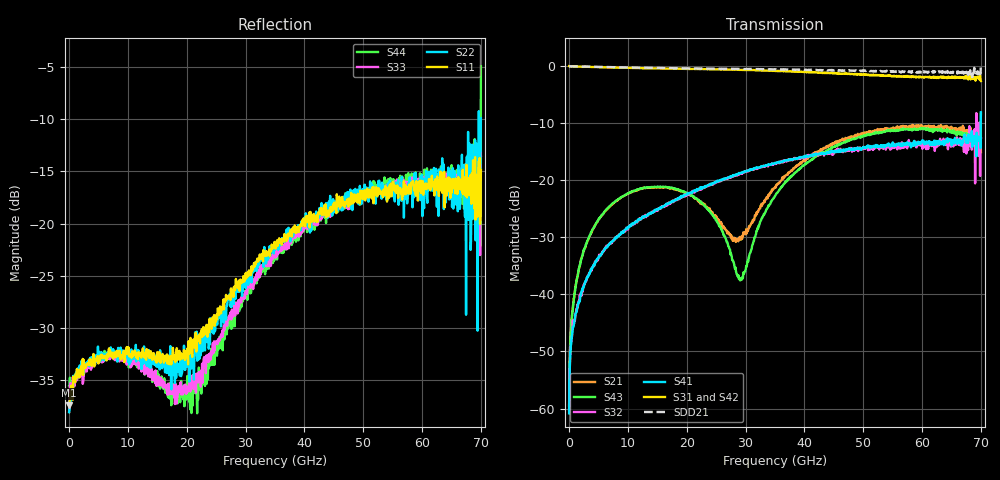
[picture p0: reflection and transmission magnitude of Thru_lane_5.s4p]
! 4/13/2026 10:45:41 AM
! C:\ANRITSUVNA\DATA\SARA\2026-04-13 T5 MZDRV\DEEMB STRUCTURES\THRU_2.S4P
! CHANNEL.1
! TR.MEASUREMENT
! CORRECTED.DATA
! RF.CORRECTION: FULL.FOUR.PORT.CAL.PORT.1.2.3.4
! AVERAGING.OFF
! IF.BANDWIDTH: 1KHZ
! SWEEPTYPE:  FREQ.SWEEP(Linear)
! Reference Plane Port Info
! PORT:  PORT1  PORT2  PORT3  PORT4
! DISTANCE:  0  m  0  m  0  m  0  m
! TIME:  0  s  0  s  0  s  0  s
! PHASE.OFFSET:  0 °  0 °  0 °  0 °
! LOSS:  0  dB  0  dB  0  dB  0  dB
! REF.LOSS:  0  dB  0  dB  0  dB  0  dB
! REF.FREQ:  0  Hz  0  Hz  0  Hz  0  Hz
! Power Info
! POWER:  -20  dBm  -20  dBm  -20  dBm  -20  dBm
! EFF.POWER:  -20  dBm  -20  dBm  -20  dBm  -20  dBm
! SOURCE.ATTEN:  0  dB  0  dB  0  dB  0  dB
! TEST.ATTEN:  0  dB  0  dB  0  dB  0  dB
# HZ S DB R 50.0
! FREQ.HZ  S11DB  S11A  S12DB  S12A  S13DB  S13A  S14DB  S14A
!  S21DB  S21A  S22DB  S22A  S23DB  S23A  S24DB  S24A
!  S31DB  S31A  S32DB  S32A  S33DB  S33A  S34DB  S34A
!  S41DB  S41A  S42DB  S42A  S43DB  S43A  S44DB  S44A
!; PortSelection: Port_1234
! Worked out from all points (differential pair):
!   1001 points, 10 MHz to 70 GHz, reference 50 ohm
!   strongest paths, dB at 10 MHz, 17.51 GHz, 35.01 GHz, 52.5 GHz, 70 GHz:
!     S31: -0.1, -0.5, -0.9, -1.7, -2.7
!     S42: -0.1, -0.6, -0.9, -1.7, -1.2
!     S41: -60.8, -23.7, -17.0, -14.0, -8.2
!     S32: -60.2, -23.8, -17.0, -14.2, -12.7
!     S43: -59.4, -21.4, -22.8, -11.8, -8.4
!     S21: -59.5, -21.5, -21.3, -11.2, -15.2
!   taken as a pair (ports 1,2 in; 3,4 out), SDD21 dB: -0.1, -0.4, -0.6, -0.9, 0.1
!   lowest |S11| = -37.4 dB at 10 MHz (marker M1), VSWR 1.03, Z = 51.4 + j0.0176 ohm
!   |S11| at or under -10 dB: start of sweep to end of sweep
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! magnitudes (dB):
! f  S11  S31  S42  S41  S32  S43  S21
! 10 MHz  -37.4  -0.1  -0.1  -60.8  -60.2  -59.4  -59.5
! 2.25 GHz  -34.5  -0.2  -0.2  -39.0  -39.0  -33.3  -33.2
! 8.899 GHz  -32.7  -0.4  -0.4  -29.1  -29.4  -23.0  -23.0
! 21.15 GHz  -31.2  -0.6  -0.6  -21.9  -22.1  -22.9  -23.0
! 29.2 GHz  -25.6  -0.7  -0.8  -18.8  -18.9  -37.3  -30.4
! 42 GHz  -19.8  -1.2  -1.2  -15.6  -15.4  -15.9  -15.2
! 70 GHz  -14.9  -2.7  -1.2  -8.2  -12.7  -8.4  -15.2
